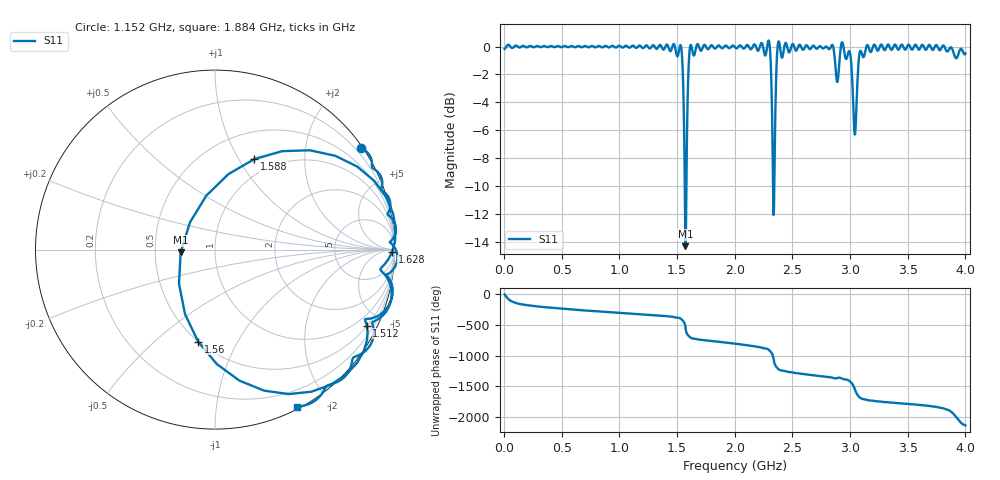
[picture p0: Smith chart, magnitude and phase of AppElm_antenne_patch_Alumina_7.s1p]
! TOUCHSTONE file generated by CST MICROWAVE STUDIO
! Date and time: Thu Jun  9 15:37:38 2022
! Project name: AppElm_antenne_patch_Alumina.cst
! Parameters = {L=30.5; W=41.8; e=0.035; h=1.6; lambda=0.190476; ls=90; w0=1.12; w1=0.373; ws=94.5; y0=14; y1=10}
! Header version: 2018
! Port assignment regex: !\s*Touchstone port\s*([0-9]+)\s*=\s*(CST MWS port|CST DS port)\s*([0-9]+|Zmin|Zmax)\s*\(\"(.*)\"\)(\s*mode\s*([0-9]+))?.*
! Touchstone port assignment:
! Touchstone port 1 = CST MWS port 1 ("")
# GHz S MA R 50
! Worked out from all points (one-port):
!   1000 points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, 4 MHz to 4 GHz, reference 50 ohm
!   lowest |S11| = -14.3 dB at 1.572 GHz (marker M1), VSWR 1.48, Z = 33.9 - j1.08 ohm
!   |S11| at or under -10 dB: 1.567 GHz to 1.58 GHz (13.93 MHz wide, 0.885 % of centre); 2.332237 GHz to 2.342583 GHz (10.35 MHz wide, 0.443 % of centre)
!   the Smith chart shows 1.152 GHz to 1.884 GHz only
!   S11 on the Smith chart (normalised r, x): 1.152 GHz: 0.05, +3.21; 1.512 GHz: 0.52, -4.17; 1.56 GHz: 0.50, -0.70; 1.588 GHz: 0.81, +1.17; 1.628 GHz: 66, -72; 1.884 GHz: 0.02, -1.65
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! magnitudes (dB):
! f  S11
! 4 MHz  -0.2
! 504 MHz  0.0
! 1.004 GHz  0.0
! 1.152 GHz  -0.1
! 1.504 GHz  -0.7
! 1.512 GHz  -0.5
! 1.54 GHz  -0.4
! 1.56 GHz  -5.7
! 1.572 GHz  -14.3
! 1.588 GHz  -5.2
! 1.608 GHz  -0.3
! 1.628 GHz  -0.1
! 1.884 GHz  -0.1
! 2.004 GHz  -0.1
! 2.292 GHz  0.4
! 2.336 GHz  -12.1
! 2.348 GHz  -6.6
! 2.368 GHz  -0.4
! 2.38 GHz  0.4
! 2.504 GHz  0.2
! 2.84 GHz  0.1
! 2.888 GHz  -2.5
! 2.936 GHz  0.2
! 3.004 GHz  -0.7
! 3.04 GHz  -6.3
! 3.096 GHz  -0.4
! 3.504 GHz  0.1
! 4 GHz  -0.5
